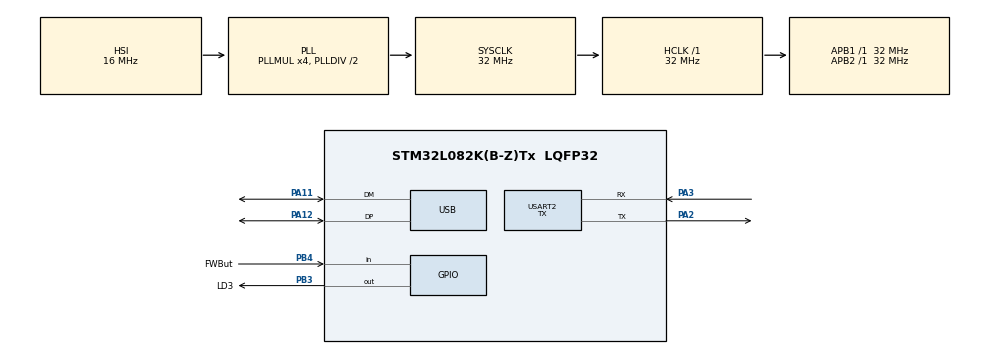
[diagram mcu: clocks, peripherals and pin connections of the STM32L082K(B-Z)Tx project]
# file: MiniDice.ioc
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Mcu.Family=STM32L0
Mcu.Name=STM32L082K(B-Z)Tx
Mcu.Package=LQFP32
NVIC.USART2_IRQn=true\:0\:0\:false\:false\:true
NVIC.USB_IRQn=true\:0\:0\:false\:false\:true
PA11.Mode=Device
PA11.Signal=USB_DM
PA12.Mode=Device
PA12.Signal=USB_DP
PA13.Mode=Serial_Wire
PA13.Signal=SYS_SWDIO
PA14.Mode=Serial_Wire
PA14.Signal=SYS_SWCLK
PA2.Mode=Asynchronous
PA2.Signal=USART2_TX
PA3.Mode=Asynchronous
PA3.Signal=USART2_RX
PB3.GPIO_Label=LD3
PB3.Signal=GPIO_Output
PB4.GPIO_Label=FWBut
PB4.GPIO_PuPd=GPIO_PULLDOWN
PB4.Signal=GPIO_Input
PC14-OSC32_IN.Mode=LSE-External-Oscillator
PC14-OSC32_IN.Signal=RCC_OSC32_IN
PC15-OSC32_OUT.Mode=LSE-External-Oscillator
PC15-OSC32_OUT.Signal=RCC_OSC32_OUT
ProjectManager.HeapSize=0x1000
ProjectManager.StackSize=0x1000
ProjectManager.TargetToolchain=TrueSTUDIO
RCC.AHBFreq_Value=32000000
RCC.APB1Freq_Value=32000000
RCC.APB1TimFreq_Value=32000000
RCC.APB2Freq_Value=32000000
RCC.APB2TimFreq_Value=32000000
RCC.HCLKFreq_Value=32000000
RCC.HSI16_VALUE=16000000
RCC.HSI48MClockSelection=RCC_USBCLKSOURCE_HSI48
RCC.HSI48_VALUE=48000000
RCC.HSI_VALUE=16000000
RCC.MSI_VALUE=2097000
RCC.PLLMUL=RCC_PLLMUL_4
RCC.RTCClockSelection=RCC_RTCCLKSOURCE_LSE
RCC.RTCClockSelectionVirtual=RCC_RTCCLKSOURCE_LSE
RCC.SYSCLKFreq_VALUE=32000000
RCC.SYSCLKSource=RCC_SYSCLKSOURCE_PLLCLK
RCC.VCOOutputFreq_Value=64000000
USART2.Mode=MODE_TX
USART2.VirtualMode-Asynchronous=VM_ASYNC
USART2.WordLength=WORDLENGTH_8B
USB_DEVICE.CLASS_NAME_FS=DFU
USB_DEVICE.VirtualMode=Dfu
USB_DEVICE.VirtualModeFS=Dfu_FS
VP_RNG_VS_RNG.Mode=RNG_Activate
VP_USB_DEVICE_VS_USB_DEVICE_DFU_FS.Mode=DFU_FS
board=miniDICE

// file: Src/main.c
/**
  ******************************************************************************
  * File Name          : main.c
  * Description        : Main program body
  ******************************************************************************
  * This notice applies to any and all portions of this file
  * that are not between comment pairs USER CODE BEGIN and
  * USER CODE END. Other portions of this file, whether
  * inserted by the user or by software development tools
  * are owned by their respective copyright owners.
  *
  * Copyright (c) 2017 STMicroelectronics International N.V.
  * All rights reserved.
  *
  * Redistribution and use in source and binary forms, with or without
  * modification, are permitted, provided that the following conditions are met:
  *
  * 1. Redistribution of source code must retain the above copyright notice,
  *    this list of conditions and the following disclaimer.
  * 2. Redistributions in binary form must reproduce the above copyright notice,
  *    this list of conditions and the following disclaimer in the documentation
  *    and/or other materials provided with the distribution.
  * 3. Neither the name of STMicroelectronics nor the names of other
  *    contributors to this software may be used to endorse or promote products
  *    derived from this software without specific written permission.
  * 4. This software, including modifications and/or derivative works of this
  *    software, must execute solely and exclusively on microcontroller or
  *    microprocessor devices manufactured by or for STMicroelectronics.
  * 5. Redistribution and use of this software other than as permitted under
  *    this license is void and will automatically terminate your rights under
  *    this license.
  *
  * THIS SOFTWARE IS PROVIDED BY STMICROELECTRONICS AND CONTRIBUTORS "AS IS"
  * AND ANY EXPRESS, IMPLIED OR STATUTORY WARRANTIES, INCLUDING, BUT NOT
  * LIMITED TO, THE IMPLIED WARRANTIES OF MERCHANTABILITY, FITNESS FOR A
  * PARTICULAR PURPOSE AND NON-INFRINGEMENT OF THIRD PARTY INTELLECTUAL PROPERTY
  * RIGHTS ARE DISCLAIMED TO THE FULLEST EXTENT PERMITTED BY LAW. IN NO EVENT
  * SHALL STMICROELECTRONICS OR CONTRIBUTORS BE LIABLE FOR ANY DIRECT, INDIRECT,
  * INCIDENTAL, SPECIAL, EXEMPLARY, OR CONSEQUENTIAL DAMAGES (INCLUDING, BUT NOT
  * LIMITED TO, PROCUREMENT OF SUBSTITUTE GOODS OR SERVICES; LOSS OF USE, DATA,
  * OR PROFITS; OR BUSINESS INTERRUPTION) HOWEVER CAUSED AND ON ANY THEORY OF
  * LIABILITY, WHETHER IN CONTRACT, STRICT LIABILITY, OR TORT (INCLUDING
  * NEGLIGENCE OR OTHERWISE) ARISING IN ANY WAY OUT OF THE USE OF THIS SOFTWARE,
  * EVEN IF ADVISED OF THE POSSIBILITY OF SUCH DAMAGE.
  *
  ******************************************************************************
  */
#include "main.h"
#include "stm32l0xx_hal.h"
#include "usb_device.h"

/* USER CODE BEGIN Includes */
#include "DiceCore.h"

/* USER CODE END Includes */

RNG_HandleTypeDef hrng;

#ifndef SILENTDICE
UART_HandleTypeDef huart2;
#endif

/* USER CODE BEGIN PV */
/* Private variables ---------------------------------------------------------*/

/* USER CODE END PV */

void SystemClock_Config(void);
static void MX_GPIO_Init(void);
#ifndef SILENTDICE
static void MX_USART2_UART_Init(void);
#endif
static void MX_RNG_Init(void);

/* USER CODE BEGIN PFP */
/* Private function prototypes -----------------------------------------------*/

/* USER CODE END PFP */

int main(void)
{

  /* USER CODE BEGIN 1 */
    DICE_STATUS retVal = DICE_SUCCESS;
  /* USER CODE END 1 */

  /* MCU Configuration----------------------------------------------------------*/

  /* Reset of all peripherals, Initializes the Flash interface and the Systick. */
  HAL_Init();

  /* Configure the system clock */
  SystemClock_Config();

  /* Initialize all configured peripherals */
  MX_GPIO_Init();
#ifndef SILENTDICE
  MX_USART2_UART_Init();
#endif
  MX_RNG_Init();
//  MX_USB_DEVICE_Init();

  /* USER CODE BEGIN 2 */
  EPRINTF("\r\n\r\n++++++++++++++++\r\n");
  EPRINTF("--> miniDICE <--\r\n");
  EPRINTF("++++++++++++++++\r\n");

  GPIO_PinState fwButPressed = HAL_GPIO_ReadPin(FWBut_GPIO_Port, FWBut_Pin);
  if(fwButPressed == GPIO_PIN_SET) EPRINTF("INFO: DFU loader requested.\r\n");

  if(DiceLockDown() != DICE_SUCCESS)
  {
      Error_Handler();
  }

  if(((retVal = DiceInitialize()) != DICE_SUCCESS) && (retVal != DICE_LOAD_MODULE_FAILED))
  {
      Error_Handler();
  }

  if((retVal == DICE_LOAD_MODULE_FAILED) ||
     (fwButPressed == GPIO_PIN_SET))
  {
      if((DICEFUSEAREA->info.properties.noClear) && ((retVal = DiceSecure()) != DICE_SUCCESS))
      {
          Error_Handler();
      }
      DiceGenerateDFUString();

      MX_USB_DEVICE_Init();

      // The only way out of here is a reboot
      if(!__HAL_FIREWALL_IS_ENABLED())
      {
          EPRINTF("INFO: Reboot to exit DFU mode. Policy updates permitted.\r\n");
          for(;;) DiceBlink(DICEBLINKEARLYDFU);
      }
      else
      {
          EPRINTF("INFO: Reboot to exit DFU mode.\r\n");
          for(;;) DiceBlink(DICEBLINKDFU);
      }
  }

  // No way past this point without security
  if((retVal = DiceSecure()) != DICE_SUCCESS)
  {
      Error_Handler();
  }

  // The point of no return: Launch the application
  EPRINTF("INFO: Preparing payload APP launch...\r\n\r\n");
  // Release the clock source
  HAL_RCC_DeInit();
  // Release the HAL
  HAL_DeInit();
  // Redirect the vector table to the application vector table
  SCB->VTOR = DICEAPPENTRY;
  // Wipe all accessible RAM to make sure we didn't leave anything behind
  for(uint32_t n = DICEWIPERAMSTARTOFFSET; n < DICERAMSIZE; n++) ((uint8_t*)DICERAMSTART)[n] = 0x00;
  // Set the stackpointer to where the application expects it
  __set_MSP(*((uint32_t*)DICEAPPENTRY));
  // Jump into the abyss
  ((void (*)(void)) *((uint32_t*)(DICEAPPENTRY + sizeof(uint32_t))))();
  // We will never return from this call!!

  /* USER CODE END 2 */

  /* Infinite loop */
  while (1)
  {

  /* USER CODE BEGIN 3 */
    EPRINTF("ERROR: How the hell did we get here?!?\r\n");
    HAL_Delay(1000);
  }
  /* USER CODE END 3 */

}

/** System Clock Configuration
*/
void SystemClock_Config(void)
{

  RCC_OscInitTypeDef RCC_OscInitStruct;
  RCC_ClkInitTypeDef RCC_ClkInitStruct;
  RCC_PeriphCLKInitTypeDef PeriphClkInit;

    /**Configure the main internal regulator output voltage
    */
  __HAL_PWR_VOLTAGESCALING_CONFIG(PWR_REGULATOR_VOLTAGE_SCALE1);

    /**Initializes the CPU, AHB and APB busses clocks
    */
  RCC_OscInitStruct.OscillatorType = RCC_OSCILLATORTYPE_HSI|RCC_OSCILLATORTYPE_HSI48;
  RCC_OscInitStruct.HSIState = RCC_HSI_ON;
  RCC_OscInitStruct.HSICalibrationValue = 16;
  RCC_OscInitStruct.HSI48State = RCC_HSI48_ON;
  RCC_OscInitStruct.PLL.PLLState = RCC_PLL_ON;
  RCC_OscInitStruct.PLL.PLLSource = RCC_PLLSOURCE_HSI;
  RCC_OscInitStruct.PLL.PLLMUL = RCC_PLLMUL_4;
  RCC_OscInitStruct.PLL.PLLDIV = RCC_PLLDIV_2;
  if (HAL_RCC_OscConfig(&RCC_OscInitStruct) != HAL_OK)
  {
    _Error_Handler(__FILE__, __LINE__);
  }

    /**Initializes the CPU, AHB and APB busses clocks
    */
  RCC_ClkInitStruct.ClockType = RCC_CLOCKTYPE_HCLK|RCC_CLOCKTYPE_SYSCLK
                              |RCC_CLOCKTYPE_PCLK1|RCC_CLOCKTYPE_PCLK2;
  RCC_ClkInitStruct.SYSCLKSource = RCC_SYSCLKSOURCE_PLLCLK;
  RCC_ClkInitStruct.AHBCLKDivider = RCC_SYSCLK_DIV1;
  RCC_ClkInitStruct.APB1CLKDivider = RCC_HCLK_DIV1;
  RCC_ClkInitStruct.APB2CLKDivider = RCC_HCLK_DIV1;

  if (HAL_RCC_ClockConfig(&RCC_ClkInitStruct, FLASH_LATENCY_1) != HAL_OK)
  {
    _Error_Handler(__FILE__, __LINE__);
  }

  PeriphClkInit.PeriphClockSelection = RCC_PERIPHCLK_USART2|RCC_PERIPHCLK_USB;
  PeriphClkInit.Usart2ClockSelection = RCC_USART2CLKSOURCE_PCLK1;
  PeriphClkInit.UsbClockSelection = RCC_USBCLKSOURCE_HSI48;
  if (HAL_RCCEx_PeriphCLKConfig(&PeriphClkInit) != HAL_OK)
  {
    _Error_Handler(__FILE__, __LINE__);
  }

    /**Configure the Systick interrupt time
    */
  HAL_SYSTICK_Config(HAL_RCC_GetHCLKFreq()/1000);

    /**Configure the Systick
    */
  HAL_SYSTICK_CLKSourceConfig(SYSTICK_CLKSOURCE_HCLK);

  /* SysTick_IRQn interrupt configuration */
  HAL_NVIC_SetPriority(SysTick_IRQn, 0, 0);
}

/* RNG init function */
static void MX_RNG_Init(void)
{

  hrng.Instance = RNG;
  if (HAL_RNG_Init(&hrng) != HAL_OK)
  {
    _Error_Handler(__FILE__, __LINE__);
  }

}

/* USART2 init function */
#ifndef SILENTDICE
static void MX_USART2_UART_Init(void)
{

  huart2.Instance = USART2;
  huart2.Init.BaudRate = 115200;
  huart2.Init.WordLength = UART_WORDLENGTH_8B;
  huart2.Init.StopBits = UART_STOPBITS_1;
  huart2.Init.Parity = UART_PARITY_NONE;
  huart2.Init.Mode = UART_MODE_TX;
  huart2.Init.HwFlowCtl = UART_HWCONTROL_NONE;
  huart2.Init.OverSampling = UART_OVERSAMPLING_16;
  huart2.Init.OneBitSampling = UART_ONE_BIT_SAMPLE_DISABLE;
  huart2.AdvancedInit.AdvFeatureInit = UART_ADVFEATURE_NO_INIT;
  if (HAL_UART_Init(&huart2) != HAL_OK)
  {
    _Error_Handler(__FILE__, __LINE__);
  }

}
#endif

/** Configure pins as
        * Analog
        * Input
        * Output
        * EVENT_OUT
        * EXTI
*/
static void MX_GPIO_Init(void)
{

  GPIO_InitTypeDef GPIO_InitStruct;

  /* GPIO Ports Clock Enable */
  __HAL_RCC_GPIOC_CLK_ENABLE();
  __HAL_RCC_GPIOA_CLK_ENABLE();
  __HAL_RCC_GPIOB_CLK_ENABLE();

  /*Configure GPIO pin Output Level */
  HAL_GPIO_WritePin(LD3_GPIO_Port, LD3_Pin, GPIO_PIN_RESET);

  /*Configure GPIO pin : LD3_Pin */
  GPIO_InitStruct.Pin = LD3_Pin;
  GPIO_InitStruct.Mode = GPIO_MODE_OUTPUT_PP;
  GPIO_InitStruct.Pull = GPIO_NOPULL;
  GPIO_InitStruct.Speed = GPIO_SPEED_FREQ_LOW;
  HAL_GPIO_Init(LD3_GPIO_Port, &GPIO_InitStruct);

  /*Configure GPIO pin : FWBut_Pin */
  GPIO_InitStruct.Pin = FWBut_Pin;
  GPIO_InitStruct.Mode = GPIO_MODE_INPUT;
  GPIO_InitStruct.Pull = GPIO_PULLDOWN;
  HAL_GPIO_Init(FWBut_GPIO_Port, &GPIO_InitStruct);

}

void _Error_Handler(char * file, int line)
{
  /* USER CODE BEGIN Error_Handler_Debug */
  /* User can add his own implementation to report the HAL error return state */
  while(1)
  {
      DiceBlink(DICEBLINKERROR);
  }
  /* USER CODE END Error_Handler_Debug */
}

/************************ (C) COPYRIGHT STMicroelectronics *****END OF FILE****/
